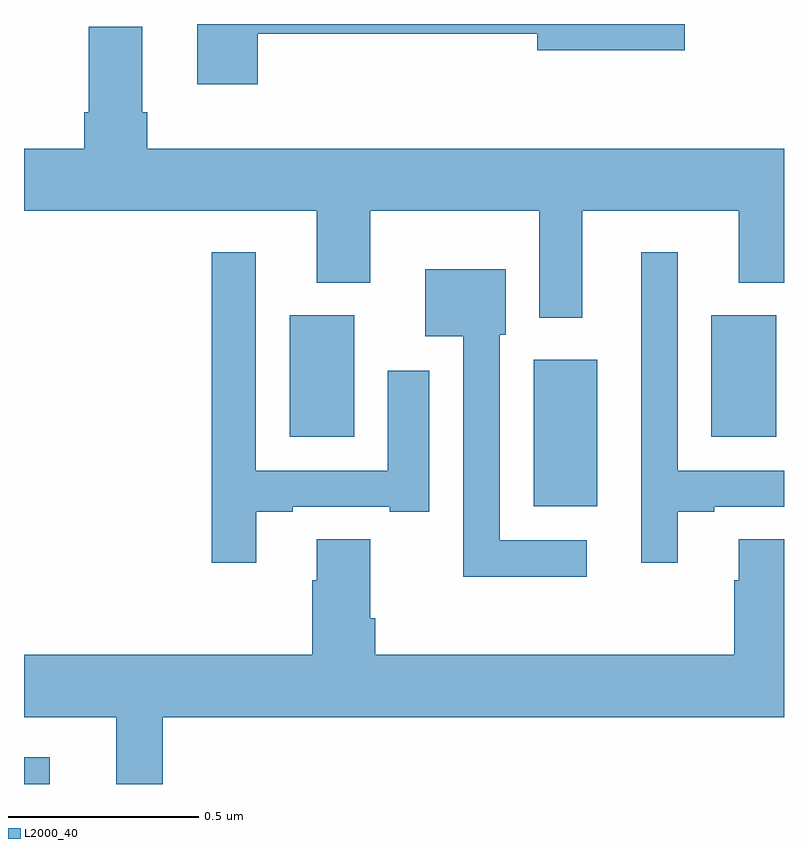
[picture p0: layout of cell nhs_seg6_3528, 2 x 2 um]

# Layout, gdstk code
import gdstk
lib = gdstk.Library(unit=1e-6, precision=1e-09)
def R(c, l, rs):  # rectangles x0, y0, x1, y1
    for r in rs: c.add(gdstk.rectangle(r[:2], r[2:], *l))
def P(c, l, *ps):  # polygons
    for p in ps: c.add(gdstk.Polygon(p, *l))
L2000_40 = (2000, 40)

nhs_seg6_3528 = lib.new_cell('nhs_seg6_3528')
R(nhs_seg6_3528, L2000_40, [(158,940.5,158.068,940.57), (159.341,941.231,159.508,941.617), (158.699,941.414,158.869,941.734), (159.809,941.414,159.979,941.734)])
P(nhs_seg6_3528, L2000_40, [(158.615,942.474),(159.35,942.474),(159.35,942.431),(159.739,942.431),(159.739,942.5),(158.456,942.5),(158.456,942.342),(158.615,942.342)],
  [(159.469,942.008),(159.881,942.008),(159.881,941.819),(160,941.819),(160,942.172),(158.324,942.172),(158.324,942.268),(158.311,942.268),(158.311,942.493),(158.171,942.493),(158.171,942.268),(158.159,942.268),(158.159,942.172),(158,942.172),(158,942.008),(158.771,942.008),(158.771,941.819),(158.911,941.819),(158.911,942.008),(159.356,942.008),(159.356,941.727),(159.469,941.727)],
  [(158.611,941.217),(158.707,941.217),(158.707,941.229),(158.963,941.229),(158.963,941.217),(159.067,941.217),(159.067,941.587),(158.957,941.587),(158.957,941.325),(158.61,941.325),(158.61,941.899),(158.494,941.899),(158.494,941.082),(158.611,941.082)],
  [(159.721,941.217),(159.817,941.217),(159.817,941.229),(160,941.229),(160,941.325),(159.72,941.325),(159.72,941.899),(159.624,941.899),(159.624,941.082),(159.721,941.082)],
  [(159.481,941.142),(159.252,941.142),(159.252,941.682),(159.268,941.682),(159.268,941.854),(159.056,941.854),(159.056,941.678),(159.156,941.678),(159.156,941.045),(159.481,941.045)],
  [(158.365,940.676),(160,940.676),(160,941.144),(159.881,941.144),(159.881,941.036),(159.869,941.036),(159.869,940.84),(158.924,940.84),(158.924,940.936),(158.911,940.936),(158.911,941.144),(158.771,941.144),(158.771,941.036),(158.759,941.036),(158.759,940.84),(158,940.84),(158,940.676),(158.243,940.676),(158.243,940.5),(158.365,940.5)])

lib.write_gds('nhs_seg6_3528.gds')
